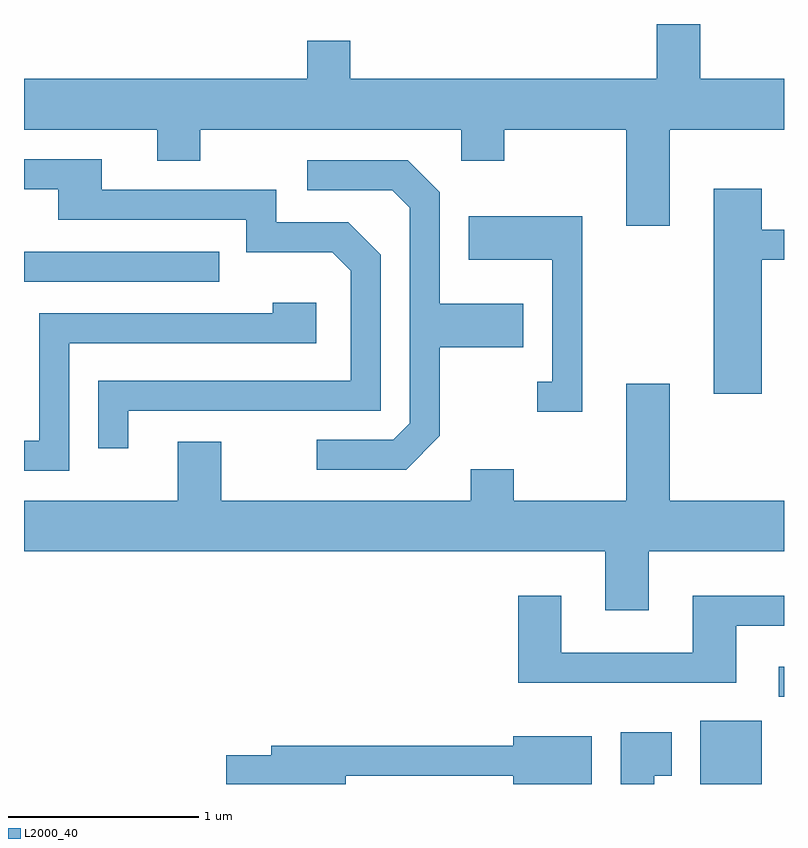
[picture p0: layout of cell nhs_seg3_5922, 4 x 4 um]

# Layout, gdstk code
import gdstk
lib = gdstk.Library(unit=1e-6, precision=1e-09)
def R(c, l, rs):  # rectangles x0, y0, x1, y1
    for r in rs: c.add(gdstk.rectangle(r[:2], r[2:], *l))
def P(c, l, *ps):  # polygons
    for p in ps: c.add(gdstk.Polygon(p, *l))
L2000_40 = (2000, 40)

nhs_seg3_5922 = lib.new_cell('nhs_seg3_5922')
R(nhs_seg3_5922, L2000_40, [(363.171,1135.892,363.494,1136.224), (363.583,1136.351,363.611,1136.509), (359.611,1138.536,360.638,1138.694)])
P(nhs_seg3_5922, L2000_40, [(363.009,1139.336),(363.611,1139.336),(363.611,1139.604),(363.169,1139.604),(363.169,1139.892),(362.941,1139.892),(362.941,1139.604),(361.329,1139.604),(361.329,1139.804),(361.101,1139.804),(361.101,1139.604),(359.611,1139.604),(359.611,1139.336),(360.311,1139.336),(360.311,1139.171),(360.539,1139.171),(360.539,1139.336),(361.911,1139.336),(361.911,1139.171),(362.139,1139.171),(362.139,1139.336),(362.781,1139.336),(362.781,1138.831),(363.009,1138.831)],
  [(360.159,1137.856),(361.489,1137.856),(361.489,1138.677),(361.317,1138.849),(360.939,1138.849),(360.939,1139.019),(360.019,1139.019),(360.019,1139.179),(359.611,1139.179),(359.611,1139.021),(359.791,1139.021),(359.791,1138.861),(360.781,1138.861),(360.781,1138.691),(361.234,1138.691),(361.331,1138.594),(361.331,1138.014),(360.001,1138.014),(360.001,1137.658),(360.159,1137.658)],
  [(361.799,1137.724),(361.799,1138.191),(362.239,1138.191),(362.239,1138.419),(361.799,1138.419),(361.799,1139.007),(361.632,1139.174),(361.103,1139.174),(361.103,1139.016),(361.549,1139.016),(361.641,1138.924),(361.641,1137.792),(361.554,1137.704),(361.153,1137.704),(361.153,1137.546),(361.622,1137.546)],
  [(363.494,1138.651),(363.611,1138.651),(363.611,1138.809),(363.494,1138.809),(363.494,1139.024),(363.241,1139.024),(363.241,1137.946),(363.494,1137.946)],
  [(362.549,1138.879),(361.951,1138.879),(361.951,1138.651),(362.391,1138.651),(362.391,1138.009),(362.313,1138.009),(362.313,1137.851),(362.549,1137.851)],
  [(359.849,1138.211),(361.149,1138.211),(361.149,1138.424),(360.921,1138.424),(360.921,1138.369),(359.691,1138.369),(359.691,1137.699),(359.611,1137.699),(359.611,1137.541),(359.849,1137.541)],
  [(362.899,1137.116),(363.611,1137.116),(363.611,1137.384),(363.009,1137.384),(363.009,1137.999),(362.781,1137.999),(362.781,1137.384),(362.189,1137.384),(362.189,1137.549),(361.961,1137.549),(361.961,1137.384),(360.649,1137.384),(360.649,1137.694),(360.421,1137.694),(360.421,1137.384),(359.611,1137.384),(359.611,1137.116),(362.671,1137.116),(362.671,1136.806),(362.899,1136.806)],
  [(363.359,1136.726),(363.611,1136.726),(363.611,1136.884),(363.131,1136.884),(363.131,1136.584),(362.439,1136.584),(362.439,1136.884),(362.211,1136.884),(362.211,1136.426),(363.359,1136.426)],
  [(362.929,1135.936),(363.019,1135.936),(363.019,1136.164),(362.751,1136.164),(362.751,1135.892),(362.929,1135.892)],
  [(361.304,1135.936),(362.186,1135.936),(362.186,1135.892),(362.599,1135.892),(362.599,1136.144),(362.186,1136.144),(362.186,1136.094),(360.911,1136.094),(360.911,1136.044),(360.676,1136.044),(360.676,1135.892),(361.304,1135.892)])

lib.write_gds('nhs_seg3_5922.gds')
